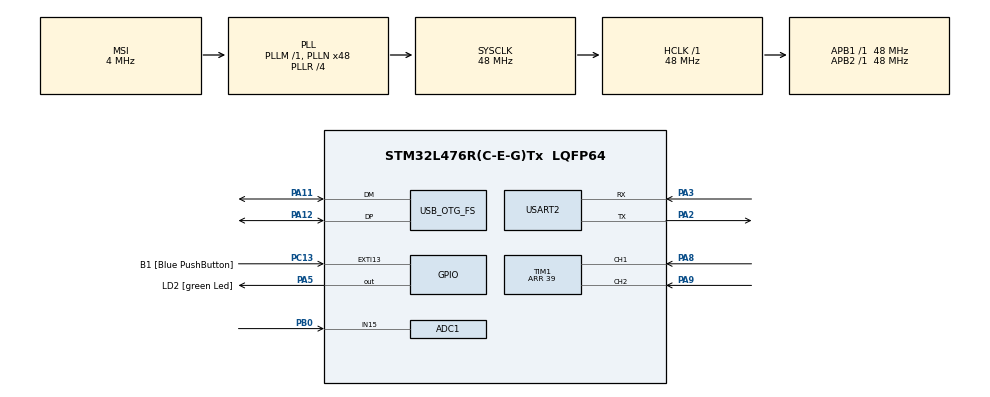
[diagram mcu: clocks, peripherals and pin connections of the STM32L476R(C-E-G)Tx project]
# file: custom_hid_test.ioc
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ADC1.Channel-1\#ChannelRegularConversion=ADC_CHANNEL_15
ADC1.ContinuousConvMode=DISABLE
ADC1.NbrOfConversionFlag=1
ADC1.OffsetNumber-1\#ChannelRegularConversion=ADC_OFFSET_NONE
ADC1.Rank-1\#ChannelRegularConversion=1
ADC1.Resolution=ADC_RESOLUTION_12B
ADC1.SamplingTime-1\#ChannelRegularConversion=ADC_SAMPLETIME_2CYCLES_5
ADC1.master=1
Mcu.Family=STM32L4
Mcu.Name=STM32L476R(C-E-G)Tx
Mcu.Package=LQFP64
NVIC.OTG_FS_IRQn=true\:0\:0\:true\:false\:true\:false\:true\:true
NVIC.PriorityGroup=NVIC_PRIORITYGROUP_4
PA11.Mode=Device_Only
PA11.Signal=USB_OTG_FS_DM
PA12.Mode=Device_Only
PA12.Signal=USB_OTG_FS_DP
PA13\ (JTMS-SWDIO).GPIO_Label=TMS
PA13\ (JTMS-SWDIO).Mode=Serial_Wire
PA13\ (JTMS-SWDIO).Signal=SYS_JTMS-SWDIO
PA14\ (JTCK-SWCLK).GPIO_Label=TCK
PA14\ (JTCK-SWCLK).Mode=Serial_Wire
PA14\ (JTCK-SWCLK).Signal=SYS_JTCK-SWCLK
PA2.GPIO_Mode=GPIO_MODE_AF_PP
PA2.GPIO_ModeDefaultPP=GPIO_MODE_AF_PP
PA2.GPIO_PuPd=GPIO_NOPULL
PA2.GPIO_Speed=GPIO_SPEED_FREQ_VERY_HIGH
PA2.Mode=Asynchronous
PA2.Signal=USART2_TX
PA3.GPIO_Mode=GPIO_MODE_AF_PP
PA3.GPIO_ModeDefaultPP=GPIO_MODE_AF_PP
PA3.GPIO_PuPd=GPIO_NOPULL
PA3.GPIO_Speed=GPIO_SPEED_FREQ_VERY_HIGH
PA3.Mode=Asynchronous
PA3.Signal=USART2_RX
PA5.GPIO_Label=LD2 [green Led]
PA5.GPIO_ModeDefaultOutputPP=GPIO_MODE_OUTPUT_PP
PA5.GPIO_PuPd=GPIO_NOPULL
PA5.GPIO_Speed=GPIO_SPEED_FREQ_LOW
PA5.Signal=GPIO_Output
PA8.Signal=S_TIM1_CH1
PA9.Signal=S_TIM1_CH2
PB0.Signal=SharedAnalog_PB0
PB3\ (JTDO-TRACESWO).GPIO_Label=SWO
PB3\ (JTDO-TRACESWO).Signal=SYS_JTDO-SWO
PC13.GPIO_Label=B1 [Blue PushButton]
PC13.GPIO_ModeDefaultEXTI=GPIO_MODE_IT_FALLING
PC13.GPIO_PuPd=GPIO_NOPULL
PC13.Signal=GPXTI13
PC14-OSC32_IN\ (PC14).Mode=LSE-External-Oscillator
PC14-OSC32_IN\ (PC14).Signal=RCC_OSC32_IN
PC15-OSC32_OUT\ (PC15).Mode=LSE-External-Oscillator
PC15-OSC32_OUT\ (PC15).Signal=RCC_OSC32_OUT
PH0-OSC_IN\ (PH0).Signal=RCC_OSC_IN
PH1-OSC_OUT\ (PH1).Signal=RCC_OSC_OUT
ProjectManager.HeapSize=0x200
ProjectManager.StackSize=0x400
ProjectManager.TargetToolchain=STM32CubeIDE
RCC.ADCFreq_Value=32000000
RCC.AHBFreq_Value=48000000
RCC.APB1Freq_Value=48000000
RCC.APB1TimFreq_Value=48000000
RCC.APB2Freq_Value=48000000
RCC.APB2TimFreq_Value=48000000
RCC.CK48CLockSelection=RCC_USBCLKSOURCE_PLL
RCC.CortexFreq_Value=48000000
RCC.HCLKFreq_Value=48000000
RCC.HSE_VALUE=8000000
RCC.HSI_VALUE=16000000
RCC.MSI_VALUE=4000000
RCC.PLLN=48
RCC.PLLQ=RCC_PLLQ_DIV4
RCC.PLLR=RCC_PLLR_DIV4
RCC.PLLSAI1N=16
RCC.PREFETCH_ENABLE=1
RCC.SYSCLKFreq_VALUE=48000000
RCC.SYSCLKSource=RCC_SYSCLKSOURCE_PLLCLK
RCC.USBFreq_Value=48000000
RCC.VCOOutputFreq_Value=192000000
SH.S_TIM1_CH1.0=TIM1_CH1,Encoder_Interface
SH.S_TIM1_CH2.0=TIM1_CH2,Encoder_Interface
SH.SharedAnalog_PB0.0=GPIO_Analog
SH.SharedAnalog_PB0.1=ADC1_IN15,IN15-Single-Ended
TIM1.ClockDivision=TIM_CLOCKDIVISION_DIV1
TIM1.EncoderMode=TIM_ENCODERMODE_TI1
TIM1.IC1Prescaler=TIM_ICPSC_DIV1
TIM1.IC2Prescaler=TIM_ICPSC_DIV1
TIM1.Period=39
USART2.VirtualMode-Asynchronous=VM_ASYNC
USB_DEVICE.CLASS_NAME_FS=CUSTOM_HID
USB_DEVICE.CUSTOM_HID_FS_BINTERVAL=1
USB_DEVICE.MANUFACTURER_STRING=STMicroelectronics
USB_DEVICE.PID_CUSTOMHID_FS=22351
USB_DEVICE.PRODUCT_STRING_CUSTOMHID_FS=STM32 Custom Human interface3
USB_DEVICE.USBD_CUSTOMHID_OUTREPORT_BUF_SIZE=3
USB_DEVICE.USBD_CUSTOM_HID_REPORT_DESC_SIZE=44
USB_DEVICE.USBD_MAX_NUM_INTERFACES=1
USB_DEVICE.VID=1155
USB_DEVICE.VirtualMode=CustomHid
USB_DEVICE.VirtualModeFS=Custom_Hid_FS
USB_OTG_FS.VirtualMode=Device_Only
VP_USB_DEVICE_VS_USB_DEVICE_CUSTOM_HID_FS.Mode=CUSTOM_HID_FS
board=NUCLEO-L476RG

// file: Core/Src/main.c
/* USER CODE BEGIN Header */
/**
  ******************************************************************************
  * @file           : main.c
  * @brief          : Main program body
  ******************************************************************************
  * @attention
  *
  * Copyright (c) 2023 STMicroelectronics.
  * All rights reserved.
  *
  * This software is licensed under terms that can be found in the LICENSE file
  * in the root directory of this software component.
  * If no LICENSE file comes with this software, it is provided AS-IS.
  *
  ******************************************************************************
  */
/* USER CODE END Header */
#include "main.h"
#include "usb_device.h"

/* USER CODE BEGIN Includes */
#include "usbd_customhid.h"
#include <string.h>
#include <stdio.h>
#include "moving_average.h"
/* USER CODE END Includes */

/* USER CODE BEGIN PD */
extern USBD_HandleTypeDef hUsbDeviceFS;

struct gameHID_t
{
     uint8_t JoyRx; 	// X 1 byte, signed value
     int8_t JoyY; 	// Y 1 byte, signed value
     uint8_t JoyB1; 	// Button, one byte, button is bit #0
};
struct gameHID_t gameHID;

int8_t counter1=0; // counter for makingthe fake values wrapping around
uint32_t raw;
char msg[64];
/* USER CODE END PD */

ADC_HandleTypeDef hadc1;

TIM_HandleTypeDef htim1;

UART_HandleTypeDef huart2;

void SystemClock_Config(void);
static void MX_GPIO_Init(void);
static void MX_USART2_UART_Init(void);
static void MX_ADC1_Init(void);
static void MX_TIM1_Init(void);

int main(void)
{

  /* MCU Configuration--------------------------------------------------------*/

  /* Reset of all peripherals, Initializes the Flash interface and the Systick. */
  HAL_Init();

  /* Configure the system clock */
  SystemClock_Config();

  /* Initialize all configured peripherals */
  MX_GPIO_Init();
  MX_USART2_UART_Init();
  MX_USB_DEVICE_Init();
  MX_ADC1_Init();
  MX_TIM1_Init();
  /* USER CODE BEGIN 2 */
  gameHID.JoyRx = 0;
  gameHID.JoyY = 0;
  gameHID.JoyB1 = 0;

  HAL_TIM_Encoder_Start(&htim1, TIM_CHANNEL_1);
  uint32_t moving_average = 0;
  FilterTypeDef filterStruct;
  uint32_t encoder_counter;
  Moving_Average_Init(&filterStruct);

  /* USER CODE END 2 */

  /* Infinite loop */
  while (1)
  {

    /* USER CODE BEGIN 3 */
	  HAL_ADC_Start(&hadc1);
	  HAL_ADC_PollForConversion(&hadc1, HAL_MAX_DELAY);
	  raw=HAL_ADC_GetValue(&hadc1)-2078;
	  if(raw>2000) raw=0;

	  moving_average=Moving_Average_Compute(raw, &filterStruct);

	  encoder_counter = __HAL_TIM_GET_COUNTER(&htim1);

	  sprintf(msg,"%hu\r\n",encoder_counter);
	  HAL_UART_Transmit(&huart2, (uint8_t*)msg, strlen(msg), HAL_MAX_DELAY);
	  double calcRx = (double)(moving_average*100/1070*256/100);

	  gameHID.JoyRx = calcRx;
	  USBD_CUSTOM_HID_SendReport(&hUsbDeviceFS, (uint8_t*) &gameHID, sizeof(struct gameHID_t));
  }
  /* USER CODE END 3 */
}

void SystemClock_Config(void)
{
  RCC_OscInitTypeDef RCC_OscInitStruct = {0};
  RCC_ClkInitTypeDef RCC_ClkInitStruct = {0};

  /** Configure the main internal regulator output voltage
  */
  if (HAL_PWREx_ControlVoltageScaling(PWR_REGULATOR_VOLTAGE_SCALE1) != HAL_OK)
  {
    Error_Handler();
  }

  /** Configure LSE Drive Capability
  */
  HAL_PWR_EnableBkUpAccess();
  __HAL_RCC_LSEDRIVE_CONFIG(RCC_LSEDRIVE_LOW);

  /** Initializes the RCC Oscillators according to the specified parameters
  * in the RCC_OscInitTypeDef structure.
  */
  RCC_OscInitStruct.OscillatorType = RCC_OSCILLATORTYPE_LSE|RCC_OSCILLATORTYPE_MSI;
  RCC_OscInitStruct.LSEState = RCC_LSE_ON;
  RCC_OscInitStruct.MSIState = RCC_MSI_ON;
  RCC_OscInitStruct.MSICalibrationValue = 0;
  RCC_OscInitStruct.MSIClockRange = RCC_MSIRANGE_6;
  RCC_OscInitStruct.PLL.PLLState = RCC_PLL_ON;
  RCC_OscInitStruct.PLL.PLLSource = RCC_PLLSOURCE_MSI;
  RCC_OscInitStruct.PLL.PLLM = 1;
  RCC_OscInitStruct.PLL.PLLN = 48;
  RCC_OscInitStruct.PLL.PLLP = RCC_PLLP_DIV7;
  RCC_OscInitStruct.PLL.PLLQ = RCC_PLLQ_DIV4;
  RCC_OscInitStruct.PLL.PLLR = RCC_PLLR_DIV4;
  if (HAL_RCC_OscConfig(&RCC_OscInitStruct) != HAL_OK)
  {
    Error_Handler();
  }

  /** Initializes the CPU, AHB and APB buses clocks
  */
  RCC_ClkInitStruct.ClockType = RCC_CLOCKTYPE_HCLK|RCC_CLOCKTYPE_SYSCLK
                              |RCC_CLOCKTYPE_PCLK1|RCC_CLOCKTYPE_PCLK2;
  RCC_ClkInitStruct.SYSCLKSource = RCC_SYSCLKSOURCE_PLLCLK;
  RCC_ClkInitStruct.AHBCLKDivider = RCC_SYSCLK_DIV1;
  RCC_ClkInitStruct.APB1CLKDivider = RCC_HCLK_DIV1;
  RCC_ClkInitStruct.APB2CLKDivider = RCC_HCLK_DIV1;

  if (HAL_RCC_ClockConfig(&RCC_ClkInitStruct, FLASH_LATENCY_2) != HAL_OK)
  {
    Error_Handler();
  }

  /** Enable MSI Auto calibration
  */
  HAL_RCCEx_EnableMSIPLLMode();
}

static void MX_ADC1_Init(void)
{

  ADC_MultiModeTypeDef multimode = {0};
  ADC_ChannelConfTypeDef sConfig = {0};

  /** Common config
  */
  hadc1.Instance = ADC1;
  hadc1.Init.ClockPrescaler = ADC_CLOCK_ASYNC_DIV1;
  hadc1.Init.Resolution = ADC_RESOLUTION_12B;
  hadc1.Init.DataAlign = ADC_DATAALIGN_RIGHT;
  hadc1.Init.ScanConvMode = ADC_SCAN_DISABLE;
  hadc1.Init.EOCSelection = ADC_EOC_SINGLE_CONV;
  hadc1.Init.LowPowerAutoWait = DISABLE;
  hadc1.Init.ContinuousConvMode = DISABLE;
  hadc1.Init.NbrOfConversion = 1;
  hadc1.Init.DiscontinuousConvMode = DISABLE;
  hadc1.Init.ExternalTrigConv = ADC_SOFTWARE_START;
  hadc1.Init.ExternalTrigConvEdge = ADC_EXTERNALTRIGCONVEDGE_NONE;
  hadc1.Init.DMAContinuousRequests = DISABLE;
  hadc1.Init.Overrun = ADC_OVR_DATA_PRESERVED;
  hadc1.Init.OversamplingMode = DISABLE;
  if (HAL_ADC_Init(&hadc1) != HAL_OK)
  {
    Error_Handler();
  }

  /** Configure the ADC multi-mode
  */
  multimode.Mode = ADC_MODE_INDEPENDENT;
  if (HAL_ADCEx_MultiModeConfigChannel(&hadc1, &multimode) != HAL_OK)
  {
    Error_Handler();
  }

  /** Configure Regular Channel
  */
  sConfig.Channel = ADC_CHANNEL_15;
  sConfig.Rank = ADC_REGULAR_RANK_1;
  sConfig.SamplingTime = ADC_SAMPLETIME_2CYCLES_5;
  sConfig.SingleDiff = ADC_SINGLE_ENDED;
  sConfig.OffsetNumber = ADC_OFFSET_NONE;
  sConfig.Offset = 0;
  if (HAL_ADC_ConfigChannel(&hadc1, &sConfig) != HAL_OK)
  {
    Error_Handler();
  }

}

static void MX_TIM1_Init(void)
{

  TIM_Encoder_InitTypeDef sConfig = {0};
  TIM_MasterConfigTypeDef sMasterConfig = {0};

  htim1.Instance = TIM1;
  htim1.Init.Prescaler = 0;
  htim1.Init.CounterMode = TIM_COUNTERMODE_UP;
  htim1.Init.Period = 39;
  htim1.Init.ClockDivision = TIM_CLOCKDIVISION_DIV1;
  htim1.Init.RepetitionCounter = 0;
  htim1.Init.AutoReloadPreload = TIM_AUTORELOAD_PRELOAD_DISABLE;
  sConfig.EncoderMode = TIM_ENCODERMODE_TI1;
  sConfig.IC1Polarity = TIM_ICPOLARITY_RISING;
  sConfig.IC1Selection = TIM_ICSELECTION_DIRECTTI;
  sConfig.IC1Prescaler = TIM_ICPSC_DIV1;
  sConfig.IC1Filter = 0;
  sConfig.IC2Polarity = TIM_ICPOLARITY_RISING;
  sConfig.IC2Selection = TIM_ICSELECTION_DIRECTTI;
  sConfig.IC2Prescaler = TIM_ICPSC_DIV1;
  sConfig.IC2Filter = 0;
  if (HAL_TIM_Encoder_Init(&htim1, &sConfig) != HAL_OK)
  {
    Error_Handler();
  }
  sMasterConfig.MasterOutputTrigger = TIM_TRGO_RESET;
  sMasterConfig.MasterOutputTrigger2 = TIM_TRGO2_RESET;
  sMasterConfig.MasterSlaveMode = TIM_MASTERSLAVEMODE_DISABLE;
  if (HAL_TIMEx_MasterConfigSynchronization(&htim1, &sMasterConfig) != HAL_OK)
  {
    Error_Handler();
  }

}

static void MX_USART2_UART_Init(void)
{

  huart2.Instance = USART2;
  huart2.Init.BaudRate = 115200;
  huart2.Init.WordLength = UART_WORDLENGTH_8B;
  huart2.Init.StopBits = UART_STOPBITS_1;
  huart2.Init.Parity = UART_PARITY_NONE;
  huart2.Init.Mode = UART_MODE_TX_RX;
  huart2.Init.HwFlowCtl = UART_HWCONTROL_NONE;
  huart2.Init.OverSampling = UART_OVERSAMPLING_16;
  huart2.Init.OneBitSampling = UART_ONE_BIT_SAMPLE_DISABLE;
  huart2.AdvancedInit.AdvFeatureInit = UART_ADVFEATURE_NO_INIT;
  if (HAL_UART_Init(&huart2) != HAL_OK)
  {
    Error_Handler();
  }

}

static void MX_GPIO_Init(void)
{
  GPIO_InitTypeDef GPIO_InitStruct = {0};

  /* GPIO Ports Clock Enable */
  __HAL_RCC_GPIOC_CLK_ENABLE();
  __HAL_RCC_GPIOH_CLK_ENABLE();
  __HAL_RCC_GPIOA_CLK_ENABLE();
  __HAL_RCC_GPIOB_CLK_ENABLE();

  /*Configure GPIO pin Output Level */
  HAL_GPIO_WritePin(LD2_GPIO_Port, LD2_Pin, GPIO_PIN_RESET);

  /*Configure GPIO pin : B1_Pin */
  GPIO_InitStruct.Pin = B1_Pin;
  GPIO_InitStruct.Mode = GPIO_MODE_IT_FALLING;
  GPIO_InitStruct.Pull = GPIO_NOPULL;
  HAL_GPIO_Init(B1_GPIO_Port, &GPIO_InitStruct);

  /*Configure GPIO pin : LD2_Pin */
  GPIO_InitStruct.Pin = LD2_Pin;
  GPIO_InitStruct.Mode = GPIO_MODE_OUTPUT_PP;
  GPIO_InitStruct.Pull = GPIO_NOPULL;
  GPIO_InitStruct.Speed = GPIO_SPEED_FREQ_LOW;
  HAL_GPIO_Init(LD2_GPIO_Port, &GPIO_InitStruct);

}

void Error_Handler(void)
{
  __disable_irq();
  while (1)
  {
  }
}
